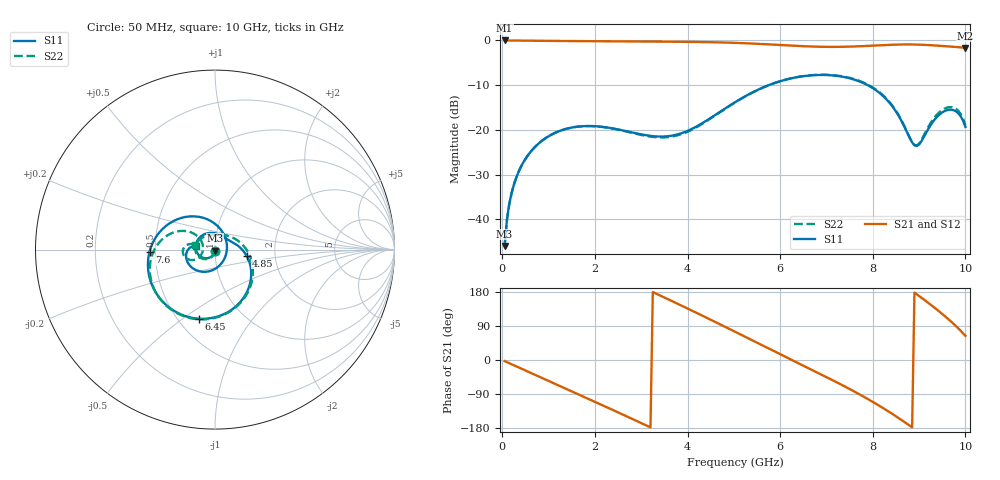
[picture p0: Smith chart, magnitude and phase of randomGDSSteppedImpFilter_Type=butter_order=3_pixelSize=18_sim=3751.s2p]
! freq	dB(S11)	phase(S11)	dB(S12)	phase(S12)
!  dB(S21)	phase(S21)	dB(S22)	phase(S22)
!S-par simulation data
#  GHz  S  DB  R 50
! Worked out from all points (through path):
!   200 points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, 50 MHz to 10 GHz, reference 50 ohm
!   highest |S21| = -0.01 dB at 50 MHz (marker M1); lowest = -1.7 dB at 10 GHz (marker M2)
!   group delay of S21, straight-line fit = 173 ps
!   lowest |S11| = -46.0 dB at 50 MHz (marker M3), VSWR 1.01, Z = 50 - j0.503 ohm
!   |S11| at or under -10 dB: start of sweep to 5.753 GHz; 7.891 GHz to end of sweep
!   |S22| runs from -46.0 to -7.7 dB; largest |S21 - S12| = 0
!   S11 on the Smith chart (normalised r, x): 50 MHz: 1.00, -0.01; 4.85 GHz: 1.42, -0.10; 6.45 GHz: 0.63, -0.58; 7.6 GHz: 0.47, -0.01; 10 GHz: 0.81, +0.03
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0.05  -45.96 -88.9  -0.01 -2.8  -0.01 -2.8  -45.99 -88.3
0.1  -40.10 -93.7  -0.01 -5.6  -0.01 -5.6  -40.09 -93.1
0.2  -34.15 -100.9  -0.02 -11.1  -0.02 -11.1  -34.14 -99.6
0.5  -26.49 -119.6  -0.05 -27.7  -0.05 -27.7  -26.48 -116.3
1.15  -20.61 -158.6  -0.11 -63.5  -0.11 -63.5  -20.60 -150.3
1.75  -19.16 165.1  -0.16 -96.5  -0.16 -96.5  -19.18 179.4
2.2  -19.36 137.0  -0.19 -121.5  -0.19 -121.5  -19.41 157.4
2.65  -20.22 107.9  -0.22 -146.6  -0.22 -146.6  -20.30 135.8
3.4  -21.49 60.3  -0.26 170.7  -0.26 170.7  -21.68 97.3
4.2  -19.21 20.4  -0.35 124.1  -0.35 124.1  -19.37 44.3
4.85  -14.96 -10.7  -0.48 85.3  -0.48 85.3  -15.02 -1.0
5.05  -13.66 -21.2  -0.55 73.1  -0.55 73.1  -13.71 -14.3
5.8  -9.82 -63.8  -0.91 27.5  -0.91 27.5  -9.82 -61.9
6.45  -8.07 -102.8  -1.27 -11.8  -1.27 -11.8  -8.04 -101.0
6.7  -7.78 -118.2  -1.37 -26.9  -1.37 -26.9  -7.75 -115.6
7.6  -8.75 -178.1  -1.35 -83.1  -1.35 -83.1  -8.65 -168.0
8  -10.65 150.2  -1.17 -110.5  -1.17 -110.5  -10.51 168.6
8.35  -13.80 116.4  -0.99 -136.6  -0.99 -136.6  -13.64 149.9
8.9  -23.44 7.0  -0.92 177.9  -0.92 177.9  -23.39 169.2
9.15  -20.69 -74.4  -1.01 155.3  -1.01 155.3  -20.26 -154.5
9.65  -15.49 -154.0  -1.35 105.9  -1.35 105.9  -14.91 -173.6
10  -19.30 169.8  -1.68 63.8  -1.68 63.8  -18.97 166.0
